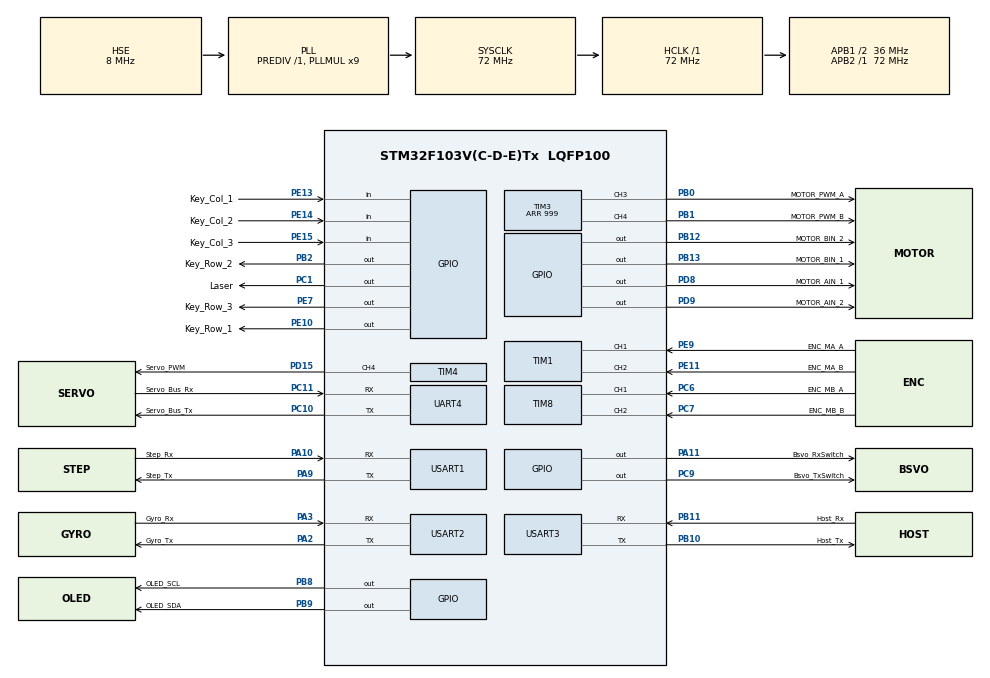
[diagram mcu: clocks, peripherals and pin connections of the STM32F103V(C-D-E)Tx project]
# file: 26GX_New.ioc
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FREERTOS.Tasks01=defaultTask,24,128,StartDefaultTask,Default,NULL,Dynamic,NULL,NULL;MainTask02,32,128,StartMainTask,Default,NULL,Dynamic,NULL,NULL;CarTask,16,128,StartCarTask,Default,NULL,Dynamic,NULL,NULL;EncTask,16,128,StartEncTask,Default,NULL,Dynamic,NULL,NULL;OLEDTask,8,128,StartOLEDTask,Default,NULL,Dynamic,NULL,NULL
FREERTOS.configTOTAL_HEAP_SIZE=8192
Mcu.Family=STM32F1
Mcu.Name=STM32F103V(C-D-E)Tx
Mcu.Package=LQFP100
NVIC.PriorityGroup=NVIC_PRIORITYGROUP_4
NVIC.TIM2_IRQn=true\:15\:0\:false\:false\:true\:false\:false\:true\:true
NVIC.TimeBase=TIM2_IRQn
NVIC.TimeBaseIP=TIM2
NVIC.UART4_IRQn=true\:5\:0\:false\:false\:true\:true\:true\:true\:true
NVIC.USART1_IRQn=true\:5\:0\:false\:false\:true\:true\:true\:true\:true
NVIC.USART2_IRQn=true\:5\:0\:false\:false\:true\:true\:true\:true\:true
NVIC.USART3_IRQn=true\:5\:0\:false\:false\:true\:true\:true\:true\:true
OSC_IN.Mode=HSE-External-Oscillator
OSC_IN.Signal=RCC_OSC_IN
OSC_OUT.Mode=HSE-External-Oscillator
OSC_OUT.Signal=RCC_OSC_OUT
PA10.GPIO_Label=Step_Rx
PA10.Mode=Asynchronous
PA10.Signal=USART1_RX
PA11.GPIO_Label=Bsvo_RxSwitch
PA11.Signal=GPIO_Output
PA13.Mode=Serial_Wire
PA13.Signal=SYS_JTMS-SWDIO
PA14.Mode=Serial_Wire
PA14.Signal=SYS_JTCK-SWCLK
PA2.GPIO_Label=Gyro_Tx
PA2.Mode=Asynchronous
PA2.Signal=USART2_TX
PA3.GPIO_Label=Gyro_Rx
PA3.Mode=Asynchronous
PA3.Signal=USART2_RX
PA9.GPIO_Label=Step_Tx
PA9.Mode=Asynchronous
PA9.Signal=USART1_TX
PB0.GPIO_Label=MOTOR_PWM_A
PB0.Signal=S_TIM3_CH3
PB1.GPIO_Label=MOTOR_PWM_B
PB1.Signal=S_TIM3_CH4
PB10.GPIO_Label=Host_Tx
PB10.Mode=Asynchronous
PB10.Signal=USART3_TX
PB11.GPIO_Label=Host_Rx
PB11.Mode=Asynchronous
PB11.Signal=USART3_RX
PB12.GPIO_Label=MOTOR_BIN_2
PB12.Signal=GPIO_Output
PB13.GPIO_Label=MOTOR_BIN_1
PB13.Signal=GPIO_Output
PB2.GPIO_Label=Key_Row_2
PB2.Signal=GPIO_Output
PB8.GPIO_Label=OLED_SCL
PB8.Signal=GPIO_Output
PB9.GPIO_Label=OLED_SDA
PB9.Signal=GPIO_Output
PC1.GPIO_Label=Laser
PC1.Signal=GPIO_Output
PC10.GPIO_Label=Servo_Bus_Tx
PC10.Mode=Asynchronous
PC10.Signal=UART4_TX
PC11.GPIO_Label=Servo_Bus_Rx
PC11.Mode=Asynchronous
PC11.Signal=UART4_RX
PC14-OSC32_IN.Mode=LSE-External-Oscillator
PC14-OSC32_IN.Signal=RCC_OSC32_IN
PC15-OSC32_OUT.Mode=LSE-External-Oscillator
PC15-OSC32_OUT.Signal=RCC_OSC32_OUT
PC6.GPIO_Label=ENC_MB_A
PC6.Signal=S_TIM8_CH1
PC7.GPIO_Label=ENC_MB_B
PC7.Signal=S_TIM8_CH2
PC9.GPIO_Label=Bsvo_TxSwitch
PC9.Signal=GPIO_Output
PD15.GPIO_Label=Servo_PWM
PD15.Signal=S_TIM4_CH4
PD8.GPIO_Label=MOTOR_AIN_1
PD8.Signal=GPIO_Output
PD9.GPIO_Label=MOTOR_AIN_2
PD9.PinState=GPIO_PIN_SET
PD9.Signal=GPIO_Output
PE10.GPIO_Label=Key_Row_1
PE10.GPIO_PuPd=GPIO_NOPULL
PE10.PinState=GPIO_PIN_SET
PE10.Signal=GPIO_Output
PE11.GPIO_Label=ENC_MA_B
PE11.Signal=S_TIM1_CH2
PE13.GPIO_Label=Key_Col_1
PE13.GPIO_PuPd=GPIO_PULLUP
PE13.Signal=GPIO_Input
PE14.GPIO_Label=Key_Col_2
PE14.GPIO_PuPd=GPIO_PULLUP
PE14.Signal=GPIO_Input
PE15.GPIO_Label=Key_Col_3
PE15.GPIO_PuPd=GPIO_PULLUP
PE15.Signal=GPIO_Input
PE7.GPIO_Label=Key_Row_3
PE7.PinState=GPIO_PIN_SET
PE7.Signal=GPIO_Output
PE9.GPIO_Label=ENC_MA_A
PE9.Signal=S_TIM1_CH1
ProjectManager.HeapSize=0x200
ProjectManager.StackSize=0x400
ProjectManager.TargetToolchain=Makefile
RCC.AHBFreq_Value=72000000
RCC.APB1CLKDivider=RCC_HCLK_DIV2
RCC.APB1Freq_Value=36000000
RCC.APB1TimFreq_Value=72000000
RCC.APB2Freq_Value=72000000
RCC.APB2TimFreq_Value=72000000
RCC.HCLKFreq_Value=72000000
RCC.PLLMUL=RCC_PLL_MUL9
RCC.PLLSourceVirtual=RCC_PLLSOURCE_HSE
RCC.SYSCLKFreq_VALUE=72000000
RCC.SYSCLKSource=RCC_SYSCLKSOURCE_PLLCLK
RCC.USBFreq_Value=72000000
SH.S_TIM1_CH1.0=TIM1_CH1,Encoder_Interface
SH.S_TIM1_CH2.0=TIM1_CH2,Encoder_Interface
SH.S_TIM3_CH3.0=TIM3_CH3,PWM Generation3 CH3
SH.S_TIM3_CH4.0=TIM3_CH4,PWM Generation4 CH4
SH.S_TIM4_CH4.0=TIM4_CH4,PWM Generation4 CH4
SH.S_TIM8_CH1.0=TIM8_CH1,Encoder_Interface
SH.S_TIM8_CH2.0=TIM8_CH2,Encoder_Interface
TIM1.AutoReloadPreload=TIM_AUTORELOAD_PRELOAD_ENABLE
TIM3.AutoReloadPreload=TIM_AUTORELOAD_PRELOAD_ENABLE
TIM3.Channel-PWM\ Generation3\ CH3=TIM_CHANNEL_3
TIM3.Channel-PWM\ Generation4\ CH4=TIM_CHANNEL_4
TIM3.Period=999
TIM3.Pulse-PWM\ Generation3\ CH3=20
TIM3.Pulse-PWM\ Generation4\ CH4=20
TIM4.AutoReloadPreload=TIM_AUTORELOAD_PRELOAD_ENABLE
TIM4.Channel-PWM\ Generation4\ CH4=TIM_CHANNEL_4
TIM4.Period=19999
TIM4.Prescaler=71
TIM8.AutoReloadPreload=TIM_AUTORELOAD_PRELOAD_ENABLE
UART4.VirtualMode=Asynchronous
USART1.VirtualMode=VM_ASYNC
USART2.VirtualMode=VM_ASYNC
USART3.VirtualMode=VM_ASYNC
VP_FREERTOS_VS_CMSIS_V2.Mode=CMSIS_V2
VP_SYS_VS_tim2.Mode=TIM2
board=custom

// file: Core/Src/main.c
/* USER CODE BEGIN Header */
/**
  ******************************************************************************
  * @file           : main.c
  * @brief          : Main program body
  ******************************************************************************
  * @attention
  *
  * Copyright (c) 2026 STMicroelectronics.
  * All rights reserved.
  *
  * This software is licensed under terms that can be found in the LICENSE file
  * in the root directory of this software component.
  * If no LICENSE file comes with this software, it is provided AS-IS.
  *
  ******************************************************************************
  */
/* USER CODE END Header */
#include "main.h"
#include "cmsis_os.h"

/* USER CODE BEGIN Includes */
#include "app/app_init.h"
#include "app/app_tasks.h"
#include "common/fault.h"
/* USER CODE END Includes */

TIM_HandleTypeDef htim1;
TIM_HandleTypeDef htim3;
TIM_HandleTypeDef htim4;
TIM_HandleTypeDef htim8;

UART_HandleTypeDef huart4;
UART_HandleTypeDef huart1;
UART_HandleTypeDef huart2;
UART_HandleTypeDef huart3;

/* Definitions for defaultTask */
osThreadId_t defaultTaskHandle;
const osThreadAttr_t defaultTask_attributes = {
  .name = "defaultTask",
  .stack_size = 128 * 4,
  .priority = (osPriority_t) osPriorityNormal,
};
/* Definitions for MainTask02 */
osThreadId_t MainTask02Handle;
const osThreadAttr_t MainTask02_attributes = {
  .name = "MainTask02",
  /* 审计 H8：512B 栈里跑键扫描+调试字符串拼接+mission 状态机，太紧 */
  .stack_size = 256 * 4,
  .priority = (osPriority_t) osPriorityAboveNormal,
};
/* Definitions for CarTask */
osThreadId_t CarTaskHandle;
const osThreadAttr_t CarTask_attributes = {
  .name = "CarTask",
  /* 审计 H8：控制环 float 运算，512B 偏紧 */
  .stack_size = 192 * 4,
  .priority = (osPriority_t) osPriorityBelowNormal,
};
/* Definitions for EncTask */
osThreadId_t EncTaskHandle;
const osThreadAttr_t EncTask_attributes = {
  .name = "EncTask",
  /* 审计 H8：编码器/陀螺处理，512B 偏紧 */
  .stack_size = 192 * 4,
  .priority = (osPriority_t) osPriorityBelowNormal,
};
/* Definitions for OLEDTask */
osThreadId_t OLEDTaskHandle;
const osThreadAttr_t OLEDTask_attributes = {
  .name = "OLEDTask",
  /* 审计 H8：软 I2C 刷屏 + 每行字符串拼接，512B 溢出风险最高 */
  .stack_size = 256 * 4,
  .priority = (osPriority_t) osPriorityLow,
};
/* USER CODE BEGIN PV */
/* 审计 B1：App_ArmTask 之前从未被创建，Arm_Update() 没人调用，机械臂整条
   链路是死状态。周期 5 ms（CHASSIS_CTRL_PERIOD_MS），栈 1 KB。
   优先级必须低于 CarTask（运行时被提到 osPriorityRealtime）：CarTask 抢不到
   CPU 会直接丢控制拍。Normal 也低于 EncTask(AboveNormal)。 */
osThreadId_t ArmTaskHandle;
const osThreadAttr_t ArmTask_attributes = {
  .name = "ArmTask",
  .stack_size = 256 * 4,
  .priority = (osPriority_t) osPriorityNormal,
};
/* USER CODE END PV */

void SystemClock_Config(void);
static void MX_GPIO_Init(void);
static void MX_TIM1_Init(void);
static void MX_TIM3_Init(void);
static void MX_TIM8_Init(void);
static void MX_USART2_UART_Init(void);
static void MX_TIM4_Init(void);
static void MX_UART4_Init(void);
static void MX_USART1_UART_Init(void);
static void MX_USART3_UART_Init(void);
void StartDefaultTask(void *argument);
void StartMainTask(void *argument);
void StartCarTask(void *argument);
void StartEncTask(void *argument);
void StartOLEDTask(void *argument);
void StartArmTask(void *argument);

int main(void)
{

  /* MCU Configuration--------------------------------------------------------*/

  /* Reset of all peripherals, Initializes the Flash interface and the Systick. */
  HAL_Init();

  /* Configure the system clock */
  SystemClock_Config();

  /* Initialize all configured peripherals */
  MX_GPIO_Init();
  MX_TIM1_Init();
  MX_TIM3_Init();
  MX_TIM8_Init();
  MX_USART2_UART_Init();
  MX_TIM4_Init();
  MX_UART4_Init();
  MX_USART1_UART_Init();
  MX_USART3_UART_Init();
  /* USER CODE BEGIN 2 */
  /* 审计 H8/H9：先把上次复位原因（栈溢出/内存失败/HardFault/看门狗）从
     BKP 备份寄存器读出来并清零，App_Debug_Refresh() 会把它显示在 OLED 上 */
  Fault_Init();

  App_Init();
  /* USER CODE END 2 */

  /* Init scheduler */
  osKernelInitialize();

  /* USER CODE BEGIN RTOS_QUEUES */
  App_InitRtos();
  /* USER CODE END RTOS_QUEUES */

  /* Create the thread(s) */
  /* creation of defaultTask */
  defaultTaskHandle = osThreadNew(StartDefaultTask, NULL, &defaultTask_attributes);

  /* creation of MainTask02 */
  MainTask02Handle = osThreadNew(StartMainTask, NULL, &MainTask02_attributes);

  /* creation of CarTask */
  CarTaskHandle = osThreadNew(StartCarTask, NULL, &CarTask_attributes);

  /* creation of EncTask */
  EncTaskHandle = osThreadNew(StartEncTask, NULL, &EncTask_attributes);

  /* creation of OLEDTask */
  OLEDTaskHandle = osThreadNew(StartOLEDTask, NULL, &OLEDTask_attributes);

  /* creation of ArmTask（审计 B1） */
  ArmTaskHandle = osThreadNew(StartArmTask, NULL, &ArmTask_attributes);

  /* USER CODE BEGIN RTOS_THREADS */
  /* 控制环提到最高优先级；运行时调整，不改生成代码中的 const osThreadAttr_t */
  (void)osThreadSetPriority(CarTaskHandle, osPriorityRealtime);
  (void)osThreadSetPriority(EncTaskHandle, osPriorityAboveNormal);
  (void)osThreadSetPriority(MainTask02Handle, osPriorityNormal);
  /* USER CODE END RTOS_THREADS */

  /* Start scheduler */
  osKernelStart();

  /* We should never get here as control is now taken by the scheduler */

  /* Infinite loop */
  while (1)
  {

  }
}

void SystemClock_Config(void)
{
  RCC_OscInitTypeDef RCC_OscInitStruct = {0};
  RCC_ClkInitTypeDef RCC_ClkInitStruct = {0};

  /** Initializes the RCC Oscillators according to the specified parameters
  * in the RCC_OscInitTypeDef structure.
  */
  RCC_OscInitStruct.OscillatorType = RCC_OSCILLATORTYPE_HSE;
  RCC_OscInitStruct.HSEState = RCC_HSE_ON;
  RCC_OscInitStruct.HSEPredivValue = RCC_HSE_PREDIV_DIV1;
  RCC_OscInitStruct.HSIState = RCC_HSI_ON;
  RCC_OscInitStruct.PLL.PLLState = RCC_PLL_ON;
  RCC_OscInitStruct.PLL.PLLSource = RCC_PLLSOURCE_HSE;
  RCC_OscInitStruct.PLL.PLLMUL = RCC_PLL_MUL9;
  if (HAL_RCC_OscConfig(&RCC_OscInitStruct) != HAL_OK)
  {
    Error_Handler();
  }

  /** Initializes the CPU, AHB and APB buses clocks
  */
  RCC_ClkInitStruct.ClockType = RCC_CLOCKTYPE_HCLK|RCC_CLOCKTYPE_SYSCLK
                              |RCC_CLOCKTYPE_PCLK1|RCC_CLOCKTYPE_PCLK2;
  RCC_ClkInitStruct.SYSCLKSource = RCC_SYSCLKSOURCE_PLLCLK;
  RCC_ClkInitStruct.AHBCLKDivider = RCC_SYSCLK_DIV1;
  RCC_ClkInitStruct.APB1CLKDivider = RCC_HCLK_DIV2;
  RCC_ClkInitStruct.APB2CLKDivider = RCC_HCLK_DIV1;

  if (HAL_RCC_ClockConfig(&RCC_ClkInitStruct, FLASH_LATENCY_2) != HAL_OK)
  {
    Error_Handler();
  }
}

static void MX_TIM1_Init(void)
{

  TIM_Encoder_InitTypeDef sConfig = {0};
  TIM_MasterConfigTypeDef sMasterConfig = {0};

  htim1.Instance = TIM1;
  htim1.Init.Prescaler = 0;
  htim1.Init.CounterMode = TIM_COUNTERMODE_UP;
  htim1.Init.Period = 65535;
  htim1.Init.ClockDivision = TIM_CLOCKDIVISION_DIV1;
  htim1.Init.RepetitionCounter = 0;
  htim1.Init.AutoReloadPreload = TIM_AUTORELOAD_PRELOAD_ENABLE;
  sConfig.EncoderMode = TIM_ENCODERMODE_TI1;
  sConfig.IC1Polarity = TIM_ICPOLARITY_RISING;
  sConfig.IC1Selection = TIM_ICSELECTION_DIRECTTI;
  sConfig.IC1Prescaler = TIM_ICPSC_DIV1;
  sConfig.IC1Filter = 0;
  sConfig.IC2Polarity = TIM_ICPOLARITY_RISING;
  sConfig.IC2Selection = TIM_ICSELECTION_DIRECTTI;
  sConfig.IC2Prescaler = TIM_ICPSC_DIV1;
  sConfig.IC2Filter = 0;
  if (HAL_TIM_Encoder_Init(&htim1, &sConfig) != HAL_OK)
  {
    Error_Handler();
  }
  sMasterConfig.MasterOutputTrigger = TIM_TRGO_RESET;
  sMasterConfig.MasterSlaveMode = TIM_MASTERSLAVEMODE_DISABLE;
  if (HAL_TIMEx_MasterConfigSynchronization(&htim1, &sMasterConfig) != HAL_OK)
  {
    Error_Handler();
  }

}

static void MX_TIM3_Init(void)
{

  TIM_MasterConfigTypeDef sMasterConfig = {0};
  TIM_OC_InitTypeDef sConfigOC = {0};

  htim3.Instance = TIM3;
  htim3.Init.Prescaler = 0;
  htim3.Init.CounterMode = TIM_COUNTERMODE_UP;
  htim3.Init.Period = 999;
  htim3.Init.ClockDivision = TIM_CLOCKDIVISION_DIV1;
  htim3.Init.AutoReloadPreload = TIM_AUTORELOAD_PRELOAD_ENABLE;
  if (HAL_TIM_PWM_Init(&htim3) != HAL_OK)
  {
    Error_Handler();
  }
  sMasterConfig.MasterOutputTrigger = TIM_TRGO_RESET;
  sMasterConfig.MasterSlaveMode = TIM_MASTERSLAVEMODE_DISABLE;
  if (HAL_TIMEx_MasterConfigSynchronization(&htim3, &sMasterConfig) != HAL_OK)
  {
    Error_Handler();
  }
  sConfigOC.OCMode = TIM_OCMODE_PWM1;
  sConfigOC.Pulse = 20;
  sConfigOC.OCPolarity = TIM_OCPOLARITY_HIGH;
  sConfigOC.OCFastMode = TIM_OCFAST_DISABLE;
  if (HAL_TIM_PWM_ConfigChannel(&htim3, &sConfigOC, TIM_CHANNEL_3) != HAL_OK)
  {
    Error_Handler();
  }
  if (HAL_TIM_PWM_ConfigChannel(&htim3, &sConfigOC, TIM_CHANNEL_4) != HAL_OK)
  {
    Error_Handler();
  }
  HAL_TIM_MspPostInit(&htim3);

}

static void MX_TIM4_Init(void)
{

  TIM_MasterConfigTypeDef sMasterConfig = {0};
  TIM_OC_InitTypeDef sConfigOC = {0};

  htim4.Instance = TIM4;
  htim4.Init.Prescaler = 71;
  htim4.Init.CounterMode = TIM_COUNTERMODE_UP;
  htim4.Init.Period = 19999;
  htim4.Init.ClockDivision = TIM_CLOCKDIVISION_DIV1;
  htim4.Init.AutoReloadPreload = TIM_AUTORELOAD_PRELOAD_ENABLE;
  if (HAL_TIM_PWM_Init(&htim4) != HAL_OK)
  {
    Error_Handler();
  }
  sMasterConfig.MasterOutputTrigger = TIM_TRGO_RESET;
  sMasterConfig.MasterSlaveMode = TIM_MASTERSLAVEMODE_DISABLE;
  if (HAL_TIMEx_MasterConfigSynchronization(&htim4, &sMasterConfig) != HAL_OK)
  {
    Error_Handler();
  }
  sConfigOC.OCMode = TIM_OCMODE_PWM1;
  sConfigOC.Pulse = 0;
  sConfigOC.OCPolarity = TIM_OCPOLARITY_HIGH;
  sConfigOC.OCFastMode = TIM_OCFAST_DISABLE;
  if (HAL_TIM_PWM_ConfigChannel(&htim4, &sConfigOC, TIM_CHANNEL_4) != HAL_OK)
  {
    Error_Handler();
  }
  HAL_TIM_MspPostInit(&htim4);

}

static void MX_TIM8_Init(void)
{

  TIM_Encoder_InitTypeDef sConfig = {0};
  TIM_MasterConfigTypeDef sMasterConfig = {0};

  htim8.Instance = TIM8;
  htim8.Init.Prescaler = 0;
  htim8.Init.CounterMode = TIM_COUNTERMODE_UP;
  htim8.Init.Period = 65535;
  htim8.Init.ClockDivision = TIM_CLOCKDIVISION_DIV1;
  htim8.Init.RepetitionCounter = 0;
  htim8.Init.AutoReloadPreload = TIM_AUTORELOAD_PRELOAD_ENABLE;
  sConfig.EncoderMode = TIM_ENCODERMODE_TI1;
  sConfig.IC1Polarity = TIM_ICPOLARITY_RISING;
  sConfig.IC1Selection = TIM_ICSELECTION_DIRECTTI;
  sConfig.IC1Prescaler = TIM_ICPSC_DIV1;
  sConfig.IC1Filter = 0;
  sConfig.IC2Polarity = TIM_ICPOLARITY_RISING;
  sConfig.IC2Selection = TIM_ICSELECTION_DIRECTTI;
  sConfig.IC2Prescaler = TIM_ICPSC_DIV1;
  sConfig.IC2Filter = 0;
  if (HAL_TIM_Encoder_Init(&htim8, &sConfig) != HAL_OK)
  {
    Error_Handler();
  }
  sMasterConfig.MasterOutputTrigger = TIM_TRGO_RESET;
  sMasterConfig.MasterSlaveMode = TIM_MASTERSLAVEMODE_DISABLE;
  if (HAL_TIMEx_MasterConfigSynchronization(&htim8, &sMasterConfig) != HAL_OK)
  {
    Error_Handler();
  }

}

static void MX_UART4_Init(void)
{

  huart4.Instance = UART4;
  huart4.Init.BaudRate = 115200;
  huart4.Init.WordLength = UART_WORDLENGTH_8B;
  huart4.Init.StopBits = UART_STOPBITS_1;
  huart4.Init.Parity = UART_PARITY_NONE;
  huart4.Init.Mode = UART_MODE_TX_RX;
  huart4.Init.HwFlowCtl = UART_HWCONTROL_NONE;
  huart4.Init.OverSampling = UART_OVERSAMPLING_16;
  if (HAL_UART_Init(&huart4) != HAL_OK)
  {
    Error_Handler();
  }

}

static void MX_USART1_UART_Init(void)
{

  huart1.Instance = USART1;
  huart1.Init.BaudRate = 115200;
  huart1.Init.WordLength = UART_WORDLENGTH_8B;
  huart1.Init.StopBits = UART_STOPBITS_1;
  huart1.Init.Parity = UART_PARITY_NONE;
  huart1.Init.Mode = UART_MODE_TX_RX;
  huart1.Init.HwFlowCtl = UART_HWCONTROL_NONE;
  huart1.Init.OverSampling = UART_OVERSAMPLING_16;
  if (HAL_UART_Init(&huart1) != HAL_OK)
  {
    Error_Handler();
  }

}

static void MX_USART2_UART_Init(void)
{

  huart2.Instance = USART2;
  huart2.Init.BaudRate = 115200;
  huart2.Init.WordLength = UART_WORDLENGTH_8B;
  huart2.Init.StopBits = UART_STOPBITS_1;
  huart2.Init.Parity = UART_PARITY_NONE;
  huart2.Init.Mode = UART_MODE_TX_RX;
  huart2.Init.HwFlowCtl = UART_HWCONTROL_NONE;
  huart2.Init.OverSampling = UART_OVERSAMPLING_16;
  if (HAL_UART_Init(&huart2) != HAL_OK)
  {
    Error_Handler();
  }

}

static void MX_USART3_UART_Init(void)
{

  huart3.Instance = USART3;
  huart3.Init.BaudRate = 115200;
  huart3.Init.WordLength = UART_WORDLENGTH_8B;
  huart3.Init.StopBits = UART_STOPBITS_1;
  huart3.Init.Parity = UART_PARITY_NONE;
  huart3.Init.Mode = UART_MODE_TX_RX;
  huart3.Init.HwFlowCtl = UART_HWCONTROL_NONE;
  huart3.Init.OverSampling = UART_OVERSAMPLING_16;
  if (HAL_UART_Init(&huart3) != HAL_OK)
  {
    Error_Handler();
  }

}

static void MX_GPIO_Init(void)
{
  GPIO_InitTypeDef GPIO_InitStruct = {0};

  /* GPIO Ports Clock Enable */
  __HAL_RCC_GPIOC_CLK_ENABLE();
  __HAL_RCC_GPIOA_CLK_ENABLE();
  __HAL_RCC_GPIOB_CLK_ENABLE();
  __HAL_RCC_GPIOE_CLK_ENABLE();
  __HAL_RCC_GPIOD_CLK_ENABLE();

  /*Configure GPIO pin Output Level */
  HAL_GPIO_WritePin(GPIOC, Laser_Pin|Bsvo_TxSwitch_Pin, GPIO_PIN_RESET);

  /*Configure GPIO pin Output Level */
  HAL_GPIO_WritePin(GPIOB, Key_Row_2_Pin|MOTOR_BIN_2_Pin|MOTOR_BIN_1_Pin|OLED_SCL_Pin
                          |OLED_SDA_Pin, GPIO_PIN_RESET);

  /*Configure GPIO pin Output Level */
  HAL_GPIO_WritePin(GPIOE, Key_Row_3_Pin|Key_Row_1_Pin, GPIO_PIN_SET);

  /*Configure GPIO pin Output Level */
  HAL_GPIO_WritePin(MOTOR_AIN_1_GPIO_Port, MOTOR_AIN_1_Pin, GPIO_PIN_RESET);

  /*Configure GPIO pin Output Level */
  HAL_GPIO_WritePin(MOTOR_AIN_2_GPIO_Port, MOTOR_AIN_2_Pin, GPIO_PIN_SET);

  /*Configure GPIO pin Output Level */
  HAL_GPIO_WritePin(Bsvo_RxSwitch_GPIO_Port, Bsvo_RxSwitch_Pin, GPIO_PIN_RESET);

  /*Configure GPIO pins : Laser_Pin Bsvo_TxSwitch_Pin */
  GPIO_InitStruct.Pin = Laser_Pin|Bsvo_TxSwitch_Pin;
  GPIO_InitStruct.Mode = GPIO_MODE_OUTPUT_PP;
  GPIO_InitStruct.Pull = GPIO_NOPULL;
  GPIO_InitStruct.Speed = GPIO_SPEED_FREQ_LOW;
  HAL_GPIO_Init(GPIOC, &GPIO_InitStruct);

  /*Configure GPIO pins : Key_Row_2_Pin MOTOR_BIN_2_Pin MOTOR_BIN_1_Pin OLED_SCL_Pin
                           OLED_SDA_Pin */
  GPIO_InitStruct.Pin = Key_Row_2_Pin|MOTOR_BIN_2_Pin|MOTOR_BIN_1_Pin|OLED_SCL_Pin
                          |OLED_SDA_Pin;
  GPIO_InitStruct.Mode = GPIO_MODE_OUTPUT_PP;
  GPIO_InitStruct.Pull = GPIO_NOPULL;
  GPIO_InitStruct.Speed = GPIO_SPEED_FREQ_LOW;
  HAL_GPIO_Init(GPIOB, &GPIO_InitStruct);

  /*Configure GPIO pins : Key_Row_3_Pin Key_Row_1_Pin */
  GPIO_InitStruct.Pin = Key_Row_3_Pin|Key_Row_1_Pin;
  GPIO_InitStruct.Mode = GPIO_MODE_OUTPUT_PP;
  GPIO_InitStruct.Pull = GPIO_NOPULL;
  GPIO_InitStruct.Speed = GPIO_SPEED_FREQ_LOW;
  HAL_GPIO_Init(GPIOE, &GPIO_InitStruct);

  /*Configure GPIO pins : Key_Col_1_Pin Key_Col_2_Pin Key_Col_3_Pin */
  GPIO_InitStruct.Pin = Key_Col_1_Pin|Key_Col_2_Pin|Key_Col_3_Pin;
  GPIO_InitStruct.Mode = GPIO_MODE_INPUT;
  GPIO_InitStruct.Pull = GPIO_PULLUP;
  HAL_GPIO_Init(GPIOE, &GPIO_InitStruct);

  /*Configure GPIO pins : MOTOR_AIN_1_Pin MOTOR_AIN_2_Pin */
  GPIO_InitStruct.Pin = MOTOR_AIN_1_Pin|MOTOR_AIN_2_Pin;
  GPIO_InitStruct.Mode = GPIO_MODE_OUTPUT_PP;
  GPIO_InitStruct.Pull = GPIO_NOPULL;
  GPIO_InitStruct.Speed = GPIO_SPEED_FREQ_LOW;
  HAL_GPIO_Init(GPIOD, &GPIO_InitStruct);

  /*Configure GPIO pin : Bsvo_RxSwitch_Pin */
  GPIO_InitStruct.Pin = Bsvo_RxSwitch_Pin;
  GPIO_InitStruct.Mode = GPIO_MODE_OUTPUT_PP;
  GPIO_InitStruct.Pull = GPIO_NOPULL;
  GPIO_InitStruct.Speed = GPIO_SPEED_FREQ_LOW;
  HAL_GPIO_Init(Bsvo_RxSwitch_GPIO_Port, &GPIO_InitStruct);

}

void StartDefaultTask(void *argument)
{
  /* USER CODE BEGIN 5 */
  App_DefaultTask(argument);
  /* USER CODE END 5 */
}

void StartMainTask(void *argument)
{
  /* USER CODE BEGIN StartMainTask */
  App_MainTask(argument);
  /* USER CODE END StartMainTask */
}

void StartCarTask(void *argument)
{
  /* USER CODE BEGIN StartCarTask */
  App_CarTask(argument);
  /* USER CODE END StartCarTask */
}

void StartEncTask(void *argument)
{
  /* USER CODE BEGIN StartEncTask */
  App_EncTask(argument);
  /* USER CODE END StartEncTask */
}

void StartArmTask(void *argument)
{
  /* USER CODE BEGIN StartArmTask */
  App_ArmTask(argument);
  /* USER CODE END StartArmTask */
}

void StartOLEDTask(void *argument)
{
  /* USER CODE BEGIN StartOLEDTask */
  App_OledTask(argument);
  /* USER CODE END StartOLEDTask */
}

void HAL_TIM_PeriodElapsedCallback(TIM_HandleTypeDef *htim)
{
  if (htim->Instance == TIM2)
  {
    HAL_IncTick();
  }
}

void Error_Handler(void)
{
  /* USER CODE BEGIN Error_Handler_Debug */
  /* HAL 初始化失败（时钟/外设/中断配置）：记下故障码后复位。
     连续 3 次都走到这里就改为停机，避免初始化阶段死循环复位
     （计数在 Watchdog_Start() 里清零）。 */
  Fault_Fatal(FAULT_CODE_ERROR_HANDLER);
  /* USER CODE END Error_Handler_Debug */
}

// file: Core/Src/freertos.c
/* USER CODE BEGIN Header */
/**
  ******************************************************************************
  * File Name          : freertos.c
  * Description        : Code for freertos applications
  ******************************************************************************
  * @attention
  *
  * Copyright (c) 2026 STMicroelectronics.
  * All rights reserved.
  *
  * This software is licensed under terms that can be found in the LICENSE file
  * in the root directory of this software component.
  * If no LICENSE file comes with this software, it is provided AS-IS.
  *
  ******************************************************************************
  */
/* USER CODE END Header */

#include "FreeRTOS.h"
#include "task.h"
#include "main.h"

/* USER CODE BEGIN Includes */
#include "common/fault.h"
/* USER CODE END Includes */

/* USER CODE BEGIN Application */
/**
  * @brief 栈溢出钩子（configCHECK_FOR_STACK_OVERFLOW = 2 时由内核调用）。
  *
  * 审计 H8：原来只 bkpt + 关中断死等，没有调试器时现场什么也留不下。
  * 现在把出错任务名和故障码写进 BKP 备份寄存器再停机：IWDG 启动过就在
  * ≤2s 内复位，下电重启后 OLED 首页会显示 "FAULT1 <任务名>"。
  * 这里只做寄存器操作，不再申请栈（出错任务的栈已经越界）。
  */
void vApplicationStackOverflowHook(TaskHandle_t xTask, char *pcTaskName)
{
  (void)xTask;

  Fault_Record(FAULT_CODE_STACK_OVERFLOW, (const char *)pcTaskName);
  Fault_Halt();
}

/**
  * @brief 动态内存分配失败钩子（configUSE_MALLOC_FAILED_HOOK = 1）。
  *        一般是 heap_4 不够用/申请了超大块，记录后停机。
  */
void vApplicationMallocFailedHook(void)
{
  Fault_Record(FAULT_CODE_MALLOC_FAILED, NULL);
  Fault_Halt();
}
/* USER CODE END Application */
